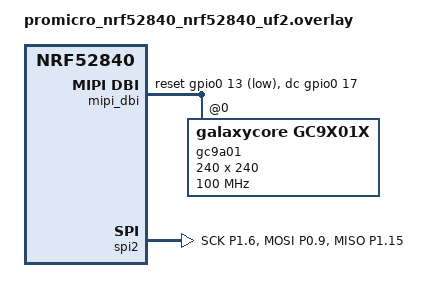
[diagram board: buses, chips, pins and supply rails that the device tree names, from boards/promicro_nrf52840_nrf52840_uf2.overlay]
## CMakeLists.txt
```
cmake_minimum_required(VERSION 3.20.0)

find_package(Zephyr REQUIRED HINTS $ENV{ZEPHYR_BASE})
project(app_display_graphics)

target_sources(app PRIVATE src/main.c)
set(LVGL_DIR ${ZEPHYR_LVGL_MODULE_DIR})

FILE(GLOB app_sources src/*.c)
target_sources(app PRIVATE ${app_sources})

target_include_directories(app PRIVATE
    ${LVGL_DIR}/demos/
)

target_sources_ifdef(CONFIG_LV_USE_DEMO_BENCHMARK app PRIVATE
    ${LVGL_DIR}/demos/benchmark/assets/img_benchmark_avatar.c
    ${LVGL_DIR}/demos/benchmark/assets/img_benchmark_lvgl_logo_argb.c
    ${LVGL_DIR}/demos/benchmark/assets/img_benchmark_lvgl_logo_rgb.c
    ${LVGL_DIR}/demos/benchmark/assets/lv_font_benchmark_montserrat_12_compr_az.c.c
    ${LVGL_DIR}/demos/benchmark/assets/lv_font_benchmark_montserrat_16_compr_az.c.c
    ${LVGL_DIR}/demos/benchmark/assets/lv_font_benchmark_montserrat_28_compr_az.c.c
    ${LVGL_DIR}/demos/benchmark/lv_demo_benchmark.c
)
target_sources_ifdef(CONFIG_LV_USE_DEMO_WIDGETS app PRIVATE
    ${LVGL_DIR}/demos/widgets/assets/img_clothes.c
    ${LVGL_DIR}/demos/widgets/assets/img_demo_widgets_avatar.c
    ${LVGL_DIR}/demos/widgets/assets/img_demo_widgets_needle.c
    ${LVGL_DIR}/demos/widgets/assets/img_lvgl_logo.c
    ${LVGL_DIR}/demos/widgets/lv_demo_widgets.c
)
```

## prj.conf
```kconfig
CONFIG_SPI=y
CONFIG_GPIO=y
CONFIG_PRINTK=y
CONFIG_LOG=y

CONFIG_DISPLAY=y
CONFIG_MIPI_DBI=y
CONFIG_GC9X01X=y

CONFIG_MAIN_STACK_SIZE=4096

CONFIG_LVGL=y
CONFIG_LV_Z_MEM_POOL_SIZE=100000
CONFIG_LV_FONT_MONTSERRAT_24=y

CONFIG_LV_USE_DEMO_WIDGETS=y
CONFIG_LV_USE_DEMO_BENCHMARK=y
```

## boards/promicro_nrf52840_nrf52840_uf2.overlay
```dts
#include <zephyr/dt-bindings/gpio/gpio.h>
#include <zephyr/dt-bindings/display/panel.h>
#include <zephyr/dt-bindings/mipi_dbi/mipi_dbi.h>

/ {
    chosen {
        zephyr,display = &gc9a01;
    };

    mipi_dbi {
        compatible = "zephyr,mipi-dbi-spi";
        dc-gpios = <&gpio0 17 GPIO_ACTIVE_HIGH>;
        reset-gpios = <&gpio0 13 GPIO_ACTIVE_LOW>;
        spi-dev = <&spi2>;
        #address-cells = <1>;
        #size-cells = <0>;

        gc9a01: gc9a01@0 {
            status = "okay";
            mipi-max-frequency = <100000000>;
            compatible = "galaxycore,gc9x01x";
            reg = <0>;
            pixel-format = <PANEL_PIXEL_FORMAT_RGB_565>;
            width = <240>;
            height = <240>;
            display-inversion;
        };
    };
};

&pinctrl {
    spi2_default: spi2_default {
        group1 {
            psels = <NRF_PSEL(SPIM_SCK, 1, 6)>,
                    <NRF_PSEL(SPIM_MOSI, 0, 9)>,
                    <NRF_PSEL(SPIM_MISO, 1, 15)>; // Optional
        };
    };

    spi2_sleep: spi2_sleep {
        group1 {
            psels = <NRF_PSEL(SPIM_SCK, 1, 6)>,
                    <NRF_PSEL(SPIM_MOSI, 0, 9)>,
                    <NRF_PSEL(SPIM_MISO, 1, 15)>; // Optional
        };
    };
};

&spi2 {
    status = "okay";
    pinctrl-0 = <&spi2_default>;
    pinctrl-1 = <&spi2_sleep>;
    pinctrl-names = "default", "sleep";
    cs-gpios = <&gpio0 10 GPIO_ACTIVE_HIGH>;
};
```

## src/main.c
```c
#include <zephyr/kernel.h>
#include <zephyr/drivers/display.h>
#include <lvgl.h>
#include <lvgl_mem.h>
#include <lv_demos.h>
#include <zephyr/logging/log.h>

#define LOG_LEVEL CONFIG_LOG_DEFAULT_LEVEL
LOG_MODULE_REGISTER(main, LOG_LEVEL);

int main(void)
{
    const struct device *display_dev = DEVICE_DT_GET(DT_CHOSEN(zephyr_display));

    lv_init();
    if (!device_is_ready(display_dev)) {
        // LOG_ERR("Display not ready");
        return -1;
    }

    display_blanking_off(display_dev);
    lv_demo_widgets();

        lv_demo_benchmark();
    while (1) {
        lv_timer_handler();
        k_msleep(1000);
    }
}
```
